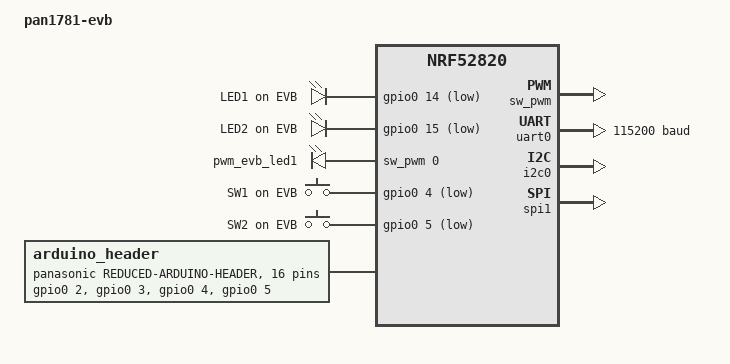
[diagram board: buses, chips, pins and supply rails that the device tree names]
/*
 * PAN1781 EVB configuration
 *
 * Copyright (c) 2022 Panasonic Industrial Devices Europe GmbH
 * SPDX-License-Identifier: Apache-2.0
 */

/dts-v1/;
#include <nordic/nrf52820_qdaa.dtsi>
#include "pan1781_evb-pinctrl.dtsi"
#include <zephyr/dt-bindings/input/input-event-codes.h>

/ {
	model = "pan1781-evb";
	compatible = "panasonic-industrial-devices-europe-gmbh,pan1781-evb";

	chosen {
		zephyr,console = &uart0;
		zephyr,shell-uart = &uart0;
		zephyr,uart-mcumgr = &uart0;
		zephyr,bt-mon-uart = &uart0;
		zephyr,bt-c2h-uart = &uart0;
		zephyr,sram = &sram0;
		zephyr,flash = &flash0;
		zephyr,code-partition = &slot0_partition;
	};

	leds {
		compatible = "gpio-leds";

		evb_led1: evb_led_0 {
			gpios = <&gpio0 14 GPIO_ACTIVE_LOW>;
			label = "LED1 on EVB";
		};

		evb_led2: evb_led_2 {
			gpios = <&gpio0 15 GPIO_ACTIVE_LOW>;
			label = "LED2 on EVB";
		};
	};

	pwmleds {
		compatible = "pwm-leds";

		pwm_evb_led1: pwm_evb_led_1 {
			pwms = <&sw_pwm 0 PWM_MSEC(20) PWM_POLARITY_INVERTED>;
		};
	};

	buttons {
		compatible = "gpio-keys";

		evb_sw1: evb_sw_1 {
			gpios = <&gpio0 4 (GPIO_PULL_UP | GPIO_ACTIVE_LOW)>;
			label = "SW1 on EVB";
			zephyr,code = <INPUT_KEY_0>;
		};

		evb_sw2: evb_sw_2 {
			gpios = <&gpio0 5 (GPIO_PULL_UP | GPIO_ACTIVE_LOW)>;
			label = "SW2 on EVB";
			zephyr,code = <INPUT_KEY_1>;
		};
	};

	arduino_header: connector {
		compatible = "panasonic,reduced-arduino-header";
		#gpio-cells = <2>;
		gpio-map-mask = <0xffffffff 0xffffffc0>;
		gpio-map-pass-thru = <0 0x3f>;
		gpio-map = <0 0 &gpio0 2 0>,	/* A0 */
			   <1 0 &gpio0 3 0>,	/* A1 */
			   <2 0 &gpio0 4 0>,	/* A2 */
			   <3 0 &gpio0 5 0>,	/* A3 */
			   <6 0 &gpio0 6 0>,	/* D0 */
			   <7 0 &gpio0 8 0>,	/* D1 */
			   <8 0 &gpio0 14 0>,	/* D2 */
			   <9 0 &gpio0 15 0>,	/* D3 */
			   <10 0 &gpio0 4 0>,	/* D4 */
			   <11 0 &gpio0 5 0>,	/* D5 */
			   <16 0 &gpio0 3 0>,	/* D10 */
			   <17 0 &gpio0 20 0>,	/* D11 */
			   <18 0 &gpio0 29 0>,	/* D12 */
			   <19 0 &gpio0 28 0>,	/* D13 */
			   <20 0 &gpio0 7 0>,	/* D14 */
			   <21 0 &gpio0 30 0>;	/* D15 */
	};

	/* These aliases are provided for compatibility with samples */
	aliases {
		led0 = &evb_led1;
		led1 = &evb_led2;
		pwm-led0 = &pwm_evb_led1;
		sw0 = &evb_sw1;
		sw1 = &evb_sw2;
		watchdog0 = &wdt0;
	};
};

&reg1 {
	regulator-initial-mode = <NRF5X_REG_MODE_DCDC>;
};

&sw_pwm {
	status = "okay";
	channel-gpios = <&gpio0 14 GPIO_ACTIVE_LOW>;
	clock-prescaler = <8>;
};

&uicr {
	gpio-as-nreset;
};

&gpiote {
	status = "okay";
};

&gpio0 {
	status = "okay";
};

arduino_serial: &uart0 {
	compatible = "nordic,nrf-uarte";
	status = "okay";
	current-speed = <115200>;
	pinctrl-0 = <&uart0_default>;
	pinctrl-1 = <&uart0_sleep>;
	pinctrl-names = "default", "sleep";
};

arduino_i2c: &i2c0 {
	compatible = "nordic,nrf-twi";
	status = "okay";
	pinctrl-0 = <&i2c0_default>;
	pinctrl-1 = <&i2c0_sleep>;
	pinctrl-names = "default", "sleep";
};

arduino_spi: &spi1 {
	status = "okay";
	cs-gpios = <&gpio0 3 GPIO_ACTIVE_LOW>; /* D10 */
	pinctrl-0 = <&spi1_default>;
	pinctrl-1 = <&spi1_sleep>;
	pinctrl-names = "default", "sleep";
};

&flash0 {
	partitions {
		compatible = "fixed-partitions";
		#address-cells = <1>;
		#size-cells = <1>;

		boot_partition: partition@0 {
			label = "mcuboot";
			reg = <0x0 0xc000>;
		};

		slot0_partition: partition@c000 {
			label = "image-0";
			reg = <0xc000 0x12000>;
		};

		slot1_partition: partition@1e000 {
			label = "image-1";
			reg = <0x1e000 0x12000>;
		};

		scratch_partition: partition@30000 {
			label = "image-scratch";
			reg = <0x30000 0xa000>;
		};

		storage_partition: partition@3a000 {
			label = "storage";
			reg = <0x3a000 0x6000>;
		};
	};
};
